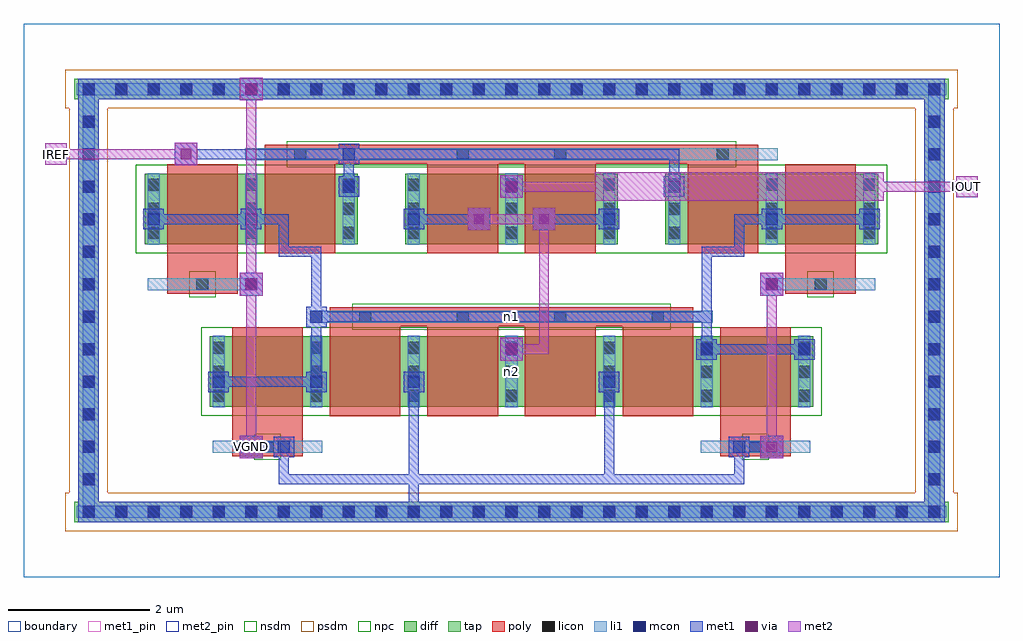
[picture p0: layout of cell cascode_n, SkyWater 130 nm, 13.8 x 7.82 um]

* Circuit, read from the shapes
.subckt cascode_n IOUT IREF VGND n1 n2
XM1 n1 VGND n1 VGND sky130_fd_pr__nfet_01v8 w=1 l=1 m=4
XM2 IREF IREF n1 VGND sky130_fd_pr__nfet_01v8 w=1 l=1 m=2
XM3 VGND n1 n1 VGND sky130_fd_pr__nfet_01v8 w=1 l=1 m=2
XM4 n2 n1 VGND VGND sky130_fd_pr__nfet_01v8 w=1 l=1 m=2
XM5 IOUT IREF n2 VGND sky130_fd_pr__nfet_01v8 w=1 l=1 m=2
.ends

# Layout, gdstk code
import gdstk
lib = gdstk.Library(unit=1e-6, precision=1e-09)
def R(c, l, rs):  # rectangles x0, y0, x1, y1
    for r in rs: c.add(gdstk.rectangle(r[:2], r[2:], *l))
def A(c, l, x, y, w, h, nx, ny, dx, dy):  # array of equal rectangles
    R(c, l, [(x+i*dx, y+j*dy, x+i*dx+w, y+j*dy+h) for i in range(nx) for j in range(ny)])
diff = (65, 20)
tap = (65, 44)
poly = (66, 20)
licon = (66, 44)
li1 = (67, 20)
mcon = (67, 44)
met1_pin = (68, 16)
met1 = (68, 20)
via = (68, 44)
met2_pin = (69, 16)
met2 = (69, 20)
nsdm = (93, 44)
psdm = (94, 20)
npc = (95, 20)
boundary = (235, 4)

cascode_n = lib.new_cell('cascode_n')
A(cascode_n, diff, 1.715, 4.705, 3.01, 1, 3, 1, 3.68, 0)
R(cascode_n, diff, [(2.635,2.405,11.165,3.405)])
R(cascode_n, tap, [(0.715,0.775,13.085,1.065), (0.775,0.775,1.065,7.045), (12.735,0.775,13.025,7.045), (0.715,6.755,13.085,7.045)])
A(cascode_n, poly, 4.33, 2.275, 1, 1.405, 4, 1, 1.38, 0)
R(cascode_n, poly, [(2.95,1.705,3.95,1.975), (9.85,1.705,10.85,1.975), (2.95,1.84,3.95,3.535), (9.85,1.84,10.85,3.535), (4.33,3.545,9.47,3.815), (2.03,4.005,3.03,4.275), (10.77,4.005,11.77,4.275), (2.03,4.14,3.03,5.835), (10.77,4.14,11.77,5.835), (3.41,4.575,4.41,5.98), (5.71,4.575,6.71,5.98), (7.09,4.575,8.09,5.98), (9.39,4.575,10.39,5.98), (3.41,5.845,10.39,6.115)])
A(cascode_n, licon, 0.835, 0.835, 0.17, 0.17, 27, 2, 0.46, 5.98)
A(cascode_n, licon, 0.835, 1.295, 0.17, 0.17, 1, 12, 0, 0.46)
A(cascode_n, licon, 12.795, 1.295, 0.17, 0.17, 1, 12, 0, 0.46)
A(cascode_n, licon, 2.675, 2.48, 0.17, 0.17, 7, 3, 1.38, 0.34)
A(cascode_n, licon, 4.745, 3.595, 0.17, 0.17, 4, 1, 1.38, 0)
A(cascode_n, licon, 1.755, 4.78, 0.17, 0.17, 3, 3, 1.38, 0.34)
A(cascode_n, licon, 5.435, 4.78, 0.17, 0.17, 3, 3, 1.38, 0.34)
A(cascode_n, licon, 9.115, 4.78, 0.17, 0.17, 3, 3, 1.38, 0.34)
R(cascode_n, licon, [(3.365,1.755,3.535,1.925), (10.265,1.755,10.435,1.925), (2.445,4.055,2.615,4.225), (11.185,4.055,11.355,4.225), (3.825,5.895,3.995,6.065), (6.125,5.895,6.295,6.065), (7.505,5.895,7.675,6.065), (9.805,5.895,9.975,6.065)])
A(cascode_n, li1, 2.675, 2.4, 0.17, 1.01, 7, 1, 1.38, 0)
A(cascode_n, li1, 1.755, 4.7, 0.17, 1.01, 3, 1, 1.38, 0)
A(cascode_n, li1, 5.435, 4.7, 0.17, 1.01, 3, 1, 1.38, 0)
A(cascode_n, li1, 9.115, 4.7, 0.17, 1.01, 3, 1, 1.38, 0)
R(cascode_n, li1, [(0.755,0.835,13.045,1.005), (0.835,0.835,1.005,6.985), (12.795,0.835,12.965,6.985), (2.675,1.755,4.225,1.925), (9.575,1.755,11.125,1.925), (4.055,3.595,9.745,3.765), (1.755,4.055,3.305,4.225), (10.495,4.055,12.045,4.225), (3.135,5.895,10.665,6.065), (0.755,6.815,13.045,6.985)])
A(cascode_n, mcon, 0.835, 0.835, 0.17, 0.17, 27, 2, 0.46, 5.98)
A(cascode_n, mcon, 0.835, 1.295, 0.17, 0.17, 1, 12, 0, 0.46)
A(cascode_n, mcon, 12.795, 1.295, 0.17, 0.17, 1, 12, 0, 0.46)
A(cascode_n, mcon, 2.675, 2.675, 0.17, 0.17, 3, 1, 1.38, 0)
A(cascode_n, mcon, 4.515, 5.435, 0.17, 0.17, 3, 1, 2.3, 0)
R(cascode_n, mcon, [(3.595,1.755,3.765,1.925), (10.035,1.755,10.205,1.925), (8.195,2.675,8.365,2.845), (6.815,3.135,6.985,3.305), (9.575,3.135,9.745,3.305), (10.955,3.135,11.125,3.305), (4.055,3.595,4.225,3.765), (3.135,4.055,3.305,4.225), (10.495,4.055,10.665,4.225), (1.755,4.975,1.925,5.145), (3.135,4.975,3.305,5.145), (5.435,4.975,5.605,5.145), (8.195,4.975,8.365,5.145), (10.495,4.975,10.665,5.145), (11.875,4.975,12.045,5.145), (4.515,5.895,4.685,6.065)])
R(cascode_n, met1_pin, [(3.06,1.68,3.38,2)])
A(cascode_n, met1, 2.615, 2.615, 0.29, 0.29, 3, 1, 1.38, 0)
A(cascode_n, met1, 4.455, 5.375, 0.29, 0.29, 3, 1, 2.3, 0)
R(cascode_n, met1, [(0.775,0.775,13.025,1.065), (0.775,0.775,1.065,7.045), (12.735,0.775,13.025,7.045), (5.45,0.85,5.59,0.99), (5.45,0.85,5.59,2.83), (3.61,1.31,5.59,1.45), (3.61,1.31,3.75,1.91), (5.45,1.31,8.35,1.45), (8.21,1.31,10.19,1.45), (8.21,1.31,8.35,2.83), (10.05,1.31,10.19,1.91), (3.06,1.68,3.38,2), (10.42,1.68,10.74,2), (3.535,1.695,3.825,1.985), (9.975,1.695,10.265,1.985), (3.15,1.77,3.75,1.91), (10.05,1.77,10.65,1.91), (8.135,2.615,8.425,2.905), (2.69,2.69,4.21,2.83), (4.07,2.69,4.21,3.75), (6.74,3.06,7.06,3.38), (6.755,3.075,7.045,3.365), (9.515,3.075,9.805,3.365), (10.895,3.075,11.185,3.365), (9.59,3.15,9.73,3.75), (9.59,3.15,11.11,3.29), (3.995,3.535,4.285,3.825), (4.07,3.61,4.21,4.67), (4.07,3.61,9.73,3.75), (9.59,3.61,9.73,4.67), (3.06,3.98,3.38,4.3), (10.42,3.98,10.74,4.3), (3.075,3.995,3.365,4.285), (10.435,3.995,10.725,4.285), (3.61,4.53,3.75,5.13), (3.61,4.53,4.21,4.67), (9.59,4.53,10.19,4.67), (10.05,4.53,10.19,5.13), (6.28,4.9,6.6,5.22), (7.2,4.9,7.52,5.22), (1.695,4.915,1.985,5.205), (3.075,4.915,3.365,5.205), (5.375,4.915,5.665,5.205), (8.135,4.915,8.425,5.205), (10.435,4.915,10.725,5.205), (11.815,4.915,12.105,5.205), (1.77,4.99,3.29,5.13), (3.15,4.99,3.75,5.13), (5.45,4.99,6.51,5.13), (7.29,4.99,8.35,5.13), (10.05,4.99,10.65,5.13), (10.51,4.99,12.03,5.13), (6.74,5.36,7.06,5.68), (4.53,5.45,4.67,6.05), (9.13,5.45,9.27,6.05), (2.14,5.82,2.46,6.14), (4.455,5.835,4.745,6.125), (2.23,5.91,4.67,6.05), (4.53,5.91,9.27,6.05), (3.06,6.74,3.38,7.06), (0.775,6.755,13.025,7.045), (3.15,6.83,3.29,6.97)])
R(cascode_n, via, [(3.145,1.765,3.295,1.915), (10.505,1.765,10.655,1.915), (6.825,3.145,6.975,3.295), (3.145,4.065,3.295,4.215), (10.505,4.065,10.655,4.215), (6.365,4.985,6.515,5.135), (7.285,4.985,7.435,5.135), (6.825,5.445,6.975,5.595), (2.225,5.905,2.375,6.055), (3.145,6.825,3.295,6.975)])
R(cascode_n, met2_pin, [(13.19,5.37,13.49,5.67), (0.31,5.83,0.61,6.13)])
R(cascode_n, met2, [(3.06,1.68,3.38,2), (10.42,1.68,10.74,2), (3.15,1.77,3.29,4.21), (10.51,1.77,10.65,4.21), (6.74,3.06,7.06,3.38), (6.83,3.15,7.43,3.29), (7.29,3.15,7.43,5.13), (3.06,3.98,3.38,4.3), (10.42,3.98,10.74,4.3), (3.15,4.07,3.29,6.97), (6.28,4.9,6.6,5.22), (7.2,4.9,7.52,5.22), (6.37,4.99,7.43,5.13), (8.08,5.32,12.16,5.72), (6.74,5.36,7.06,5.68), (13.19,5.37,13.49,5.67), (6.83,5.45,8.35,5.59), (11.89,5.45,13.41,5.59), (13.27,5.45,13.41,5.59), (2.14,5.82,2.46,6.14), (0.31,5.83,0.61,6.13), (0.39,5.91,0.53,6.05), (0.39,5.91,2.37,6.05), (3.06,6.74,3.38,7.06)])
R(cascode_n, nsdm, [(2.51,2.28,11.29,3.53), (1.59,4.58,12.21,5.83)])
R(cascode_n, psdm, [(0.59,0.65,13.21,1.19), (0.65,1.19,1.19,6.63), (12.61,1.19,13.15,6.63), (0.59,6.63,13.21,7.17)])
R(cascode_n, npc, [(3.265,1.655,3.635,2.025), (10.165,1.655,10.535,2.025), (4.645,3.495,9.155,3.865), (2.345,3.955,2.715,4.325), (11.085,3.955,11.455,4.325), (3.725,5.795,10.075,6.165)])
R(cascode_n, boundary, [(0,0,13.8,7.82)])
cascode_n.add(gdstk.Label('n1', (6.9,3.68), layer=67, texttype=5))
cascode_n.add(gdstk.Label('n2', (6.9,2.905), layer=67, texttype=5))
cascode_n.add(gdstk.Label('VGND', (3.22,1.84), layer=68, texttype=5))
cascode_n.add(gdstk.Label('IREF', (0.46,5.98), layer=69, texttype=5))
cascode_n.add(gdstk.Label('IOUT', (13.34,5.52), layer=69, texttype=5))
cascode_n.add(gdstk.Label('VGND', (3.22,1.84), layer=68, texttype=16))
cascode_n.add(gdstk.Label('IREF', (0.46,5.98), layer=69, texttype=16))
cascode_n.add(gdstk.Label('IOUT', (13.34,5.52), layer=69, texttype=16))

lib.write_gds('cascode_n.gds')
